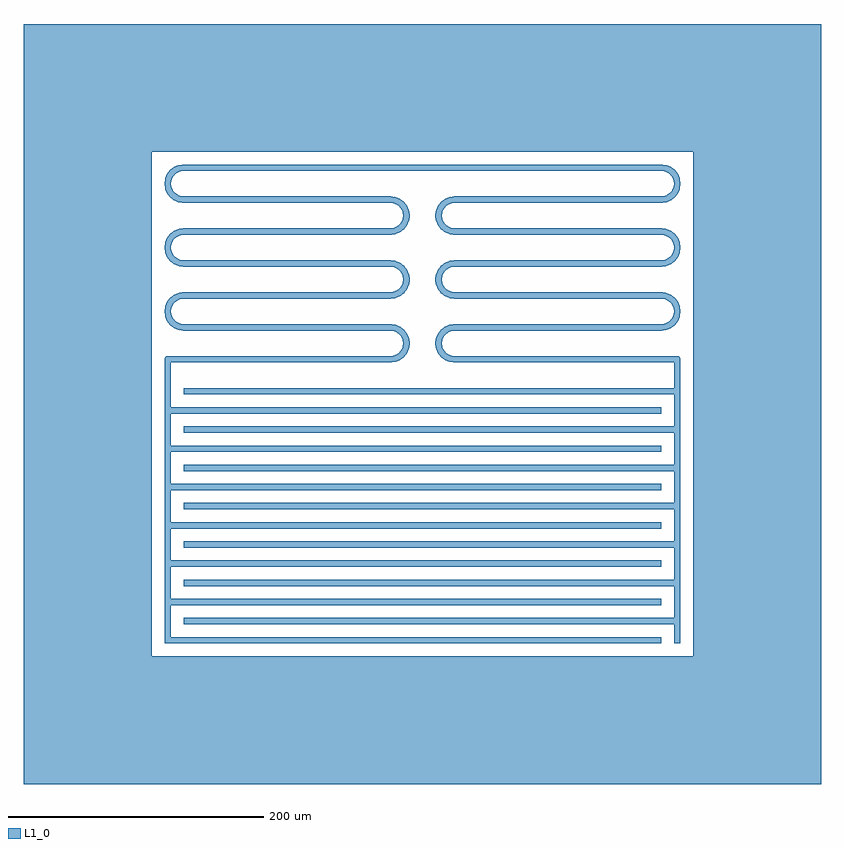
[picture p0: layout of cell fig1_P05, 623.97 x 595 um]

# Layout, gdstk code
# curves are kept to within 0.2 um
import gdstk
lib = gdstk.Library(unit=1e-6, precision=1e-09)
def R(c, l, rs):  # rectangles x0, y0, x1, y1
    for r in rs: c.add(gdstk.rectangle(r[:2], r[2:], *l))
def A(c, l, x, y, w, h, nx, ny, dx, dy):  # array of equal rectangles
    R(c, l, [(x+i*dx, y+j*dy, x+i*dx+w, y+j*dy+h) for i in range(nx) for j in range(ny)])
def P(c, l, *ps):  # polygons
    for p in ps: c.add(gdstk.Polygon(p, *l))
L1_0 = (1, 0)

fig1_p05 = lib.new_cell('fig1_P05')
A(fig1_p05, L1_0, -201.986, 0, 388.972, 5, 1, 7, 0, 30)
A(fig1_p05, L1_0, -186.986, 15, 388.972, 5, 1, 7, 0, 30)
A(fig1_p05, L1_0, -186.986, 245, 161.986, 5, 1, 5, 0, 25)
A(fig1_p05, L1_0, 25, 245, 161.986, 5, 1, 5, 0, 25)
R(fig1_p05, L1_0, [(-311.986,-110,311.986,-10), (-311.986,-10,-211.986,385), (211.986,-10,311.986,385), (-201.986,0,-196.986,200), (196.986,0,201.986,200), (-201.986,197.5,-196.986,222.5), (196.986,197.5,201.986,222.5), (-199.486,220,-25,225), (25,220,199.486,225), (-186.986,370,186.986,375), (-311.986,385,311.986,485)])
P(fig1_p05, L1_0, [(14.979,334.674),(10.021,335.326),(10.447,338.562),(15.405,337.909)],
  [(12.926,335.735),(11.158,336.467),(10.426,338.235),(11.158,340.003),(12.926,340.735),(14.694,340.003),(15.426,338.235),(14.694,336.467)],
  [(12.5,332.5),(10.732,333.232),(10,335),(10.732,336.768),(12.5,337.5),(14.268,336.768),(15,335),(14.268,333.232)],
  [(194.758,347.191),(191.714,351.158),(194.303,353.145),(197.347,349.178)],
  [(191.178,345.616),(189.265,350.236),(192.279,351.484),(194.193,346.865)],
  [(187.312,345.021),(186.66,349.979),(189.895,350.405),(190.548,345.447)],
  [(189.895,369.595),(186.66,370.021),(187.312,374.979),(190.548,374.553)],
  [(192.279,368.516),(189.265,369.764),(191.178,374.384),(194.193,373.135)],
  [(194.303,366.855),(191.714,368.842),(194.758,372.809),(197.347,370.822)],
  [(195.828,364.728),(193.841,367.317),(197.808,370.361),(199.795,367.772)],
  [(196.75,362.279),(195.502,365.293),(200.121,367.207),(201.37,364.192)],
  [(197.007,359.674),(196.581,362.909),(201.539,363.562),(201.965,360.326)],
  [(201.539,356.438),(196.581,357.091),(197.007,360.326),(201.965,359.674)],
  [(186.986,370),(185.218,370.732),(184.486,372.5),(185.218,374.268),(186.986,375),(188.754,374.268),(189.486,372.5),(188.754,370.732)],
  [(190.221,369.574),(188.453,370.306),(187.721,372.074),(188.453,373.842),(190.221,374.574),(191.989,373.842),(192.721,372.074),(191.989,370.306)],
  [(193.236,368.325),(191.468,369.058),(190.736,370.825),(191.468,372.593),(193.236,373.325),(195.004,372.593),(195.736,370.825),(195.004,369.058)],
  [(195.825,366.339),(194.057,367.071),(193.325,368.839),(194.057,370.607),(195.825,371.339),(197.593,370.607),(198.325,368.839),(197.593,367.071)],
  [(197.811,363.75),(196.044,364.482),(195.311,366.25),(196.044,368.018),(197.811,368.75),(199.579,368.018),(200.311,366.25),(199.579,364.482)],
  [(199.06,360.735),(197.292,361.467),(196.56,363.235),(197.292,365.003),(199.06,365.735),(200.828,365.003),(201.56,363.235),(200.828,361.467)],
  [(199.486,357.5),(197.718,358.232),(196.986,360),(197.718,361.768),(199.486,362.5),(201.254,361.768),(201.986,360),(201.254,358.232)],
  [(199.06,354.265),(197.292,354.997),(196.56,356.765),(197.292,358.533),(199.06,359.265),(200.828,358.533),(201.56,356.765),(200.828,354.997)],
  [(197.811,351.25),(196.044,351.982),(195.311,353.75),(196.044,355.518),(197.811,356.25),(199.579,355.518),(200.311,353.75),(199.579,351.982)],
  [(195.825,348.661),(194.057,349.393),(193.325,351.161),(194.057,352.929),(195.825,353.661),(197.593,352.929),(198.325,351.161),(197.593,349.393)],
  [(193.236,346.675),(191.468,347.407),(190.736,349.175),(191.468,350.942),(193.236,351.675),(195.004,350.942),(195.736,349.175),(195.004,347.407)],
  [(190.221,345.426),(188.453,346.158),(187.721,347.926),(188.453,349.694),(190.221,350.426),(191.989,349.694),(192.721,347.926),(191.989,346.158)],
  [(186.986,345),(185.218,345.732),(184.486,347.5),(185.218,349.268),(186.986,350),(188.754,349.268),(189.486,347.5),(188.754,345.732)],
  [(200.121,352.793),(195.502,354.707),(196.75,357.721),(201.37,355.808)],
  [(197.808,349.639),(193.841,352.683),(195.828,355.272),(199.795,352.228)],
  [(19.707,343.516),(17.793,348.135),(20.808,349.384),(22.721,344.764)],
  [(17.683,341.855),(14.639,345.822),(17.228,347.809),(20.272,343.842)],
  [(16.158,339.728),(12.191,342.772),(14.178,345.361),(18.145,342.317)],
  [(25,345),(23.232,345.732),(22.5,347.5),(23.232,349.268),(25,350),(26.768,349.268),(27.5,347.5),(26.768,345.732)],
  [(21.765,344.574),(19.997,345.306),(19.265,347.074),(19.997,348.842),(21.765,349.574),(23.533,348.842),(24.265,347.074),(23.533,345.306)],
  [(18.75,343.325),(16.982,344.058),(16.25,345.825),(16.982,347.593),(18.75,348.325),(20.518,347.593),(21.25,345.825),(20.518,344.058)],
  [(16.161,341.339),(14.393,342.071),(13.661,343.839),(14.393,345.607),(16.161,346.339),(17.929,345.607),(18.661,343.839),(17.929,342.071)],
  [(14.175,338.75),(12.407,339.482),(11.675,341.25),(12.407,343.018),(14.175,343.75),(15.942,343.018),(16.675,341.25),(15.942,339.482)],
  [(15.236,337.279),(10.616,339.192),(11.865,342.207),(16.484,340.293)],
  [(22.091,344.595),(21.438,349.553),(24.674,349.979),(25.326,345.021)],
  [(16.158,239.728),(12.191,242.772),(14.178,245.361),(18.145,242.317)],
  [(15.236,237.279),(10.616,239.192),(11.865,242.207),(16.484,240.293)],
  [(14.979,234.674),(10.021,235.326),(10.447,238.562),(15.405,237.909)],
  [(10.447,231.438),(10.021,234.674),(14.979,235.326),(15.405,232.091)],
  [(11.865,227.793),(10.616,230.808),(15.236,232.721),(16.484,229.707)],
  [(14.178,224.639),(12.191,227.228),(16.158,230.272),(18.145,227.683)],
  [(17.228,222.191),(14.639,224.178),(17.683,228.145),(20.272,226.158)],
  [(20.808,220.616),(17.793,221.865),(19.707,226.484),(22.721,225.236)],
  [(24.674,220.021),(21.438,220.447),(22.091,225.405),(25.326,224.979)],
  [(20.808,320.616),(17.793,321.865),(19.707,326.484),(22.721,325.236)],
  [(24.674,320.021),(21.438,320.447),(22.091,325.405),(25.326,324.979)],
  [(10.447,331.438),(10.021,334.674),(14.979,335.326),(15.405,332.091)],
  [(11.865,327.793),(10.616,330.808),(15.236,332.721),(16.484,329.707)],
  [(22.091,294.595),(21.438,299.553),(24.674,299.979),(25.326,295.021)],
  [(19.707,293.516),(17.793,298.135),(20.808,299.384),(22.721,294.764)],
  [(17.683,291.855),(14.639,295.822),(17.228,297.809),(20.272,293.842)],
  [(16.158,289.728),(12.191,292.772),(14.178,295.361),(18.145,292.317)],
  [(15.236,287.279),(10.616,289.192),(11.865,292.207),(16.484,290.293)],
  [(14.979,284.674),(10.021,285.326),(10.447,288.562),(15.405,287.909)],
  [(10.447,281.438),(10.021,284.674),(14.979,285.326),(15.405,282.091)],
  [(11.865,277.793),(10.616,280.808),(15.236,282.721),(16.484,279.707)],
  [(14.178,274.639),(12.191,277.228),(16.158,280.272),(18.145,277.683)],
  [(17.228,272.191),(14.639,274.178),(17.683,278.145),(20.272,276.158)],
  [(20.808,270.616),(17.793,271.865),(19.707,276.484),(22.721,275.236)],
  [(24.674,270.021),(21.438,270.447),(22.091,275.405),(25.326,274.979)],
  [(14.178,324.639),(12.191,327.228),(16.158,330.272),(18.145,327.683)],
  [(17.228,322.191),(14.639,324.178),(17.683,328.145),(20.272,326.158)],
  [(22.091,244.595),(21.438,249.553),(24.674,249.979),(25.326,245.021)],
  [(19.707,243.516),(17.793,248.135),(20.808,249.384),(22.721,244.764)],
  [(17.683,241.855),(14.639,245.822),(17.228,247.809),(20.272,243.842)],
  [(12.926,329.265),(11.158,329.997),(10.426,331.765),(11.158,333.533),(12.926,334.265),(14.694,333.533),(15.426,331.765),(14.694,329.997)],
  [(14.175,326.25),(12.407,326.982),(11.675,328.75),(12.407,330.518),(14.175,331.25),(15.942,330.518),(16.675,328.75),(15.942,326.982)],
  [(16.161,323.661),(14.393,324.393),(13.661,326.161),(14.393,327.929),(16.161,328.661),(17.929,327.929),(18.661,326.161),(17.929,324.393)],
  [(18.75,321.675),(16.982,322.407),(16.25,324.175),(16.982,325.942),(18.75,326.675),(20.518,325.942),(21.25,324.175),(20.518,322.407)],
  [(21.765,320.426),(19.997,321.158),(19.265,322.926),(19.997,324.694),(21.765,325.426),(23.533,324.694),(24.265,322.926),(23.533,321.158)],
  [(25,320),(23.232,320.732),(22.5,322.5),(23.232,324.268),(25,325),(26.768,324.268),(27.5,322.5),(26.768,320.732)],
  [(25,295),(23.232,295.732),(22.5,297.5),(23.232,299.268),(25,300),(26.768,299.268),(27.5,297.5),(26.768,295.732)],
  [(21.765,294.574),(19.997,295.306),(19.265,297.074),(19.997,298.842),(21.765,299.574),(23.533,298.842),(24.265,297.074),(23.533,295.306)],
  [(18.75,293.325),(16.982,294.058),(16.25,295.825),(16.982,297.593),(18.75,298.325),(20.518,297.593),(21.25,295.825),(20.518,294.058)],
  [(16.161,291.339),(14.393,292.071),(13.661,293.839),(14.393,295.607),(16.161,296.339),(17.929,295.607),(18.661,293.839),(17.929,292.071)],
  [(14.175,288.75),(12.407,289.482),(11.675,291.25),(12.407,293.018),(14.175,293.75),(15.942,293.018),(16.675,291.25),(15.942,289.482)],
  [(12.926,285.735),(11.158,286.467),(10.426,288.235),(11.158,290.003),(12.926,290.735),(14.694,290.003),(15.426,288.235),(14.694,286.467)],
  [(12.5,282.5),(10.732,283.232),(10,285),(10.732,286.768),(12.5,287.5),(14.268,286.768),(15,285),(14.268,283.232)],
  [(12.926,279.265),(11.158,279.997),(10.426,281.765),(11.158,283.533),(12.926,284.265),(14.694,283.533),(15.426,281.765),(14.694,279.997)],
  [(14.175,276.25),(12.407,276.982),(11.675,278.75),(12.407,280.518),(14.175,281.25),(15.942,280.518),(16.675,278.75),(15.942,276.982)],
  [(16.161,273.661),(14.393,274.393),(13.661,276.161),(14.393,277.929),(16.161,278.661),(17.929,277.929),(18.661,276.161),(17.929,274.393)],
  [(18.75,271.675),(16.982,272.407),(16.25,274.175),(16.982,275.942),(18.75,276.675),(20.518,275.942),(21.25,274.175),(20.518,272.407)],
  [(21.765,270.426),(19.997,271.158),(19.265,272.926),(19.997,274.694),(21.765,275.426),(23.533,274.694),(24.265,272.926),(23.533,271.158)],
  [(25,270),(23.232,270.732),(22.5,272.5),(23.232,274.268),(25,275),(26.768,274.268),(27.5,272.5),(26.768,270.732)],
  [(25,245),(23.232,245.732),(22.5,247.5),(23.232,249.268),(25,250),(26.768,249.268),(27.5,247.5),(26.768,245.732)],
  [(21.765,244.574),(19.997,245.306),(19.265,247.074),(19.997,248.842),(21.765,249.574),(23.533,248.842),(24.265,247.074),(23.533,245.306)],
  [(18.75,243.325),(16.982,244.058),(16.25,245.825),(16.982,247.593),(18.75,248.325),(20.518,247.593),(21.25,245.825),(20.518,244.058)],
  [(16.161,241.339),(14.393,242.071),(13.661,243.839),(14.393,245.607),(16.161,246.339),(17.929,245.607),(18.661,243.839),(17.929,242.071)],
  [(14.175,238.75),(12.407,239.482),(11.675,241.25),(12.407,243.018),(14.175,243.75),(15.942,243.018),(16.675,241.25),(15.942,239.482)],
  [(12.926,235.735),(11.158,236.467),(10.426,238.235),(11.158,240.003),(12.926,240.735),(14.694,240.003),(15.426,238.235),(14.694,236.467)],
  [(12.5,232.5),(10.732,233.232),(10,235),(10.732,236.768),(12.5,237.5),(14.268,236.768),(15,235),(14.268,233.232)],
  [(12.926,229.265),(11.158,229.997),(10.426,231.765),(11.158,233.533),(12.926,234.265),(14.694,233.533),(15.426,231.765),(14.694,229.997)],
  [(14.175,226.25),(12.407,226.982),(11.675,228.75),(12.407,230.518),(14.175,231.25),(15.942,230.518),(16.675,228.75),(15.942,226.982)],
  [(16.161,223.661),(14.393,224.393),(13.661,226.161),(14.393,227.929),(16.161,228.661),(17.929,227.929),(18.661,226.161),(17.929,224.393)],
  [(18.75,221.675),(16.982,222.407),(16.25,224.175),(16.982,225.942),(18.75,226.675),(20.518,225.942),(21.25,224.175),(20.518,222.407)],
  [(21.765,220.426),(19.997,221.158),(19.265,222.926),(19.997,224.694),(21.765,225.426),(23.533,224.694),(24.265,222.926),(23.533,221.158)],
  [(25,220),(23.232,220.732),(22.5,222.5),(23.232,224.268),(25,225),(26.768,224.268),(27.5,222.5),(26.768,220.732)],
  [(190.221,319.574),(188.453,320.306),(187.721,322.074),(188.453,323.842),(190.221,324.574),(191.989,323.842),(192.721,322.074),(191.989,320.306)],
  [(193.236,318.325),(191.468,319.058),(190.736,320.825),(191.468,322.593),(193.236,323.325),(195.004,322.593),(195.736,320.825),(195.004,319.058)],
  [(195.825,316.339),(194.057,317.071),(193.325,318.839),(194.057,320.607),(195.825,321.339),(197.593,320.607),(198.325,318.839),(197.593,317.071)],
  [(197.811,313.75),(196.044,314.482),(195.311,316.25),(196.044,318.018),(197.811,318.75),(199.579,318.018),(200.311,316.25),(199.579,314.482)],
  [(199.06,310.735),(197.292,311.467),(196.56,313.235),(197.292,315.003),(199.06,315.735),(200.828,315.003),(201.56,313.235),(200.828,311.467)],
  [(199.486,307.5),(197.718,308.232),(196.986,310),(197.718,311.768),(199.486,312.5),(201.254,311.768),(201.986,310),(201.254,308.232)],
  [(199.06,304.265),(197.292,304.997),(196.56,306.765),(197.292,308.533),(199.06,309.265),(200.828,308.533),(201.56,306.765),(200.828,304.997)],
  [(197.811,301.25),(196.044,301.982),(195.311,303.75),(196.044,305.518),(197.811,306.25),(199.579,305.518),(200.311,303.75),(199.579,301.982)],
  [(195.825,298.661),(194.057,299.393),(193.325,301.161),(194.057,302.929),(195.825,303.661),(197.593,302.929),(198.325,301.161),(197.593,299.393)],
  [(193.236,296.675),(191.468,297.407),(190.736,299.175),(191.468,300.942),(193.236,301.675),(195.004,300.942),(195.736,299.175),(195.004,297.407)],
  [(190.221,295.426),(188.453,296.158),(187.721,297.926),(188.453,299.694),(190.221,300.426),(191.989,299.694),(192.721,297.926),(191.989,296.158)],
  [(186.986,295),(185.218,295.732),(184.486,297.5),(185.218,299.268),(186.986,300),(188.754,299.268),(189.486,297.5),(188.754,295.732)],
  [(194.303,266.855),(191.714,268.842),(194.758,272.809),(197.347,270.822)],
  [(195.828,264.728),(193.841,267.317),(197.808,270.361),(199.795,267.772)],
  [(196.75,262.279),(195.502,265.293),(200.121,267.207),(201.37,264.192)],
  [(197.007,259.674),(196.581,262.909),(201.539,263.562),(201.965,260.326)],
  [(201.539,256.438),(196.581,257.091),(197.007,260.326),(201.965,259.674)],
  [(200.121,252.793),(195.502,254.707),(196.75,257.721),(201.37,255.808)],
  [(197.808,249.639),(193.841,252.683),(195.828,255.272),(199.795,252.228)],
  [(194.758,247.191),(191.714,251.158),(194.303,253.145),(197.347,249.178)],
  [(191.178,245.616),(189.265,250.236),(192.279,251.484),(194.193,246.865)],
  [(187.312,245.021),(186.66,249.979),(189.895,250.405),(190.548,245.447)],
  [(189.895,319.595),(186.66,320.021),(187.312,324.979),(190.548,324.553)],
  [(192.279,318.516),(189.265,319.764),(191.178,324.384),(194.193,323.135)],
  [(194.303,316.855),(191.714,318.842),(194.758,322.809),(197.347,320.822)],
  [(186.986,270),(185.218,270.732),(184.486,272.5),(185.218,274.268),(186.986,275),(188.754,274.268),(189.486,272.5),(188.754,270.732)],
  [(190.221,269.574),(188.453,270.306),(187.721,272.074),(188.453,273.842),(190.221,274.574),(191.989,273.842),(192.721,272.074),(191.989,270.306)],
  [(193.236,268.325),(191.468,269.058),(190.736,270.825),(191.468,272.593),(193.236,273.325),(195.004,272.593),(195.736,270.825),(195.004,269.058)],
  [(195.825,266.339),(194.057,267.071),(193.325,268.839),(194.057,270.607),(195.825,271.339),(197.593,270.607),(198.325,268.839),(197.593,267.071)],
  [(197.811,263.75),(196.044,264.482),(195.311,266.25),(196.044,268.018),(197.811,268.75),(199.579,268.018),(200.311,266.25),(199.579,264.482)],
  [(199.06,260.735),(197.292,261.467),(196.56,263.235),(197.292,265.003),(199.06,265.735),(200.828,265.003),(201.56,263.235),(200.828,261.467)],
  [(199.486,257.5),(197.718,258.232),(196.986,260),(197.718,261.768),(199.486,262.5),(201.254,261.768),(201.986,260),(201.254,258.232)],
  [(199.06,254.265),(197.292,254.997),(196.56,256.765),(197.292,258.533),(199.06,259.265),(200.828,258.533),(201.56,256.765),(200.828,254.997)],
  [(197.811,251.25),(196.044,251.982),(195.311,253.75),(196.044,255.518),(197.811,256.25),(199.579,255.518),(200.311,253.75),(199.579,251.982)],
  [(195.825,248.661),(194.057,249.393),(193.325,251.161),(194.057,252.929),(195.825,253.661),(197.593,252.929),(198.325,251.161),(197.593,249.393)],
  [(193.236,246.675),(191.468,247.407),(190.736,249.175),(191.468,250.942),(193.236,251.675),(195.004,250.942),(195.736,249.175),(195.004,247.407)],
  [(190.221,245.426),(188.453,246.158),(187.721,247.926),(188.453,249.694),(190.221,250.426),(191.989,249.694),(192.721,247.926),(191.989,246.158)],
  [(186.986,245),(185.218,245.732),(184.486,247.5),(185.218,249.268),(186.986,250),(188.754,249.268),(189.486,247.5),(188.754,245.732)],
  [(195.828,314.728),(193.841,317.317),(197.808,320.361),(199.795,317.772)],
  [(196.75,312.279),(195.502,315.293),(200.121,317.207),(201.37,314.192)],
  [(197.007,309.674),(196.581,312.909),(201.539,313.562),(201.965,310.326)],
  [(201.539,306.438),(196.581,307.091),(197.007,310.326),(201.965,309.674)],
  [(200.121,302.793),(195.502,304.707),(196.75,307.721),(201.37,305.808)],
  [(197.808,299.639),(193.841,302.683),(195.828,305.272),(199.795,302.228)],
  [(194.758,297.191),(191.714,301.158),(194.303,303.145),(197.347,299.178)],
  [(191.178,295.616),(189.265,300.236),(192.279,301.484),(194.193,296.865)],
  [(187.312,295.021),(186.66,299.979),(189.895,300.405),(190.548,295.447)],
  [(189.895,269.595),(186.66,270.021),(187.312,274.979),(190.548,274.553)],
  [(192.279,268.516),(189.265,269.764),(191.178,274.384),(194.193,273.135)],
  [(186.986,320),(185.218,320.732),(184.486,322.5),(185.218,324.268),(186.986,325),(188.754,324.268),(189.486,322.5),(188.754,320.732)],
  [(199.486,220),(197.718,220.732),(196.986,222.5),(197.718,224.268),(199.486,225),(201.254,224.268),(201.986,222.5),(201.254,220.732)],
  [(-12.5,332.5),(-14.268,333.232),(-15,335),(-14.268,336.768),(-12.5,337.5),(-10.732,336.768),(-10,335),(-10.732,333.232)],
  [(-12.926,335.735),(-14.694,336.467),(-15.426,338.235),(-14.694,340.003),(-12.926,340.735),(-11.158,340.003),(-10.426,338.235),(-11.158,336.467)],
  [(-14.979,334.674),(-15.405,337.909),(-10.447,338.562),(-10.021,335.326)],
  [(-18.75,343.325),(-20.518,344.058),(-21.25,345.825),(-20.518,347.593),(-18.75,348.325),(-16.982,347.593),(-16.25,345.825),(-16.982,344.058)],
  [(-21.765,344.574),(-23.533,345.306),(-24.265,347.074),(-23.533,348.842),(-21.765,349.574),(-19.997,348.842),(-19.265,347.074),(-19.997,345.306)],
  [(-25,345),(-26.768,345.732),(-27.5,347.5),(-26.768,349.268),(-25,350),(-23.232,349.268),(-22.5,347.5),(-23.232,345.732)],
  [(-14.175,338.75),(-15.942,339.482),(-16.675,341.25),(-15.942,343.018),(-14.175,343.75),(-12.407,343.018),(-11.675,341.25),(-12.407,339.482)],
  [(-15.236,337.279),(-16.484,340.293),(-11.865,342.207),(-10.616,339.192)],
  [(-16.158,339.728),(-18.145,342.317),(-14.178,345.361),(-12.191,342.772)],
  [(-17.683,341.855),(-20.272,343.842),(-17.228,347.809),(-14.639,345.822)],
  [(-19.707,343.516),(-22.721,344.764),(-20.808,349.384),(-17.793,348.135)],
  [(-22.091,344.595),(-25.326,345.021),(-24.674,349.979),(-21.438,349.553)],
  [(-16.161,341.339),(-17.929,342.071),(-18.661,343.839),(-17.929,345.607),(-16.161,346.339),(-14.393,345.607),(-13.661,343.839),(-14.393,342.071)],
  [(-186.986,370),(-188.754,370.732),(-189.486,372.5),(-188.754,374.268),(-186.986,375),(-185.218,374.268),(-184.486,372.5),(-185.218,370.732)],
  [(-186.986,345),(-188.754,345.732),(-189.486,347.5),(-188.754,349.268),(-186.986,350),(-185.218,349.268),(-184.486,347.5),(-185.218,345.732)],
  [(-190.221,345.426),(-191.989,346.158),(-192.721,347.926),(-191.989,349.694),(-190.221,350.426),(-188.453,349.694),(-187.721,347.926),(-188.453,346.158)],
  [(-193.236,346.675),(-195.004,347.407),(-195.736,349.175),(-195.004,350.942),(-193.236,351.675),(-191.468,350.942),(-190.736,349.175),(-191.468,347.407)],
  [(-195.825,348.661),(-197.593,349.393),(-198.325,351.161),(-197.593,352.929),(-195.825,353.661),(-194.057,352.929),(-193.325,351.161),(-194.057,349.393)],
  [(-197.811,351.25),(-199.579,351.982),(-200.311,353.75),(-199.579,355.518),(-197.811,356.25),(-196.044,355.518),(-195.311,353.75),(-196.044,351.982)],
  [(-199.06,354.265),(-200.828,354.997),(-201.56,356.765),(-200.828,358.533),(-199.06,359.265),(-197.292,358.533),(-196.56,356.765),(-197.292,354.997)],
  [(-199.486,357.5),(-201.254,358.232),(-201.986,360),(-201.254,361.768),(-199.486,362.5),(-197.718,361.768),(-196.986,360),(-197.718,358.232)],
  [(-199.06,360.735),(-200.828,361.467),(-201.56,363.235),(-200.828,365.003),(-199.06,365.735),(-197.292,365.003),(-196.56,363.235),(-197.292,361.467)],
  [(-197.811,363.75),(-199.579,364.482),(-200.311,366.25),(-199.579,368.018),(-197.811,368.75),(-196.044,368.018),(-195.311,366.25),(-196.044,364.482)],
  [(-195.825,366.339),(-197.593,367.071),(-198.325,368.839),(-197.593,370.607),(-195.825,371.339),(-194.057,370.607),(-193.325,368.839),(-194.057,367.071)],
  [(-193.236,368.325),(-195.004,369.058),(-195.736,370.825),(-195.004,372.593),(-193.236,373.325),(-191.468,372.593),(-190.736,370.825),(-191.468,369.058)],
  [(-190.221,369.574),(-191.989,370.306),(-192.721,372.074),(-191.989,373.842),(-190.221,374.574),(-188.453,373.842),(-187.721,372.074),(-188.453,370.306)],
  [(-187.312,345.021),(-190.548,345.447),(-189.895,350.405),(-186.66,349.979)],
  [(-191.178,345.616),(-194.193,346.865),(-192.279,351.484),(-189.265,350.236)],
  [(-194.758,347.191),(-197.347,349.178),(-194.303,353.145),(-191.714,351.158)],
  [(-197.808,349.639),(-199.795,352.228),(-195.828,355.272),(-193.841,352.683)],
  [(-200.121,352.793),(-201.37,355.808),(-196.75,357.721),(-195.502,354.707)],
  [(-201.539,356.438),(-201.965,359.674),(-197.007,360.326),(-196.581,357.091)],
  [(-197.007,359.674),(-201.965,360.326),(-201.539,363.562),(-196.581,362.909)],
  [(-196.75,362.279),(-201.37,364.192),(-200.121,367.207),(-195.502,365.293)],
  [(-195.828,364.728),(-199.795,367.772),(-197.808,370.361),(-193.841,367.317)],
  [(-194.303,366.855),(-197.347,370.822),(-194.758,372.809),(-191.714,368.842)],
  [(-192.279,368.516),(-194.193,373.135),(-191.178,374.384),(-189.265,369.764)],
  [(-189.895,369.595),(-190.548,374.553),(-187.312,374.979),(-186.66,370.021)],
  [(-195.825,298.661),(-197.593,299.393),(-198.325,301.161),(-197.593,302.929),(-195.825,303.661),(-194.057,302.929),(-193.325,301.161),(-194.057,299.393)],
  [(-197.811,301.25),(-199.579,301.982),(-200.311,303.75),(-199.579,305.518),(-197.811,306.25),(-196.044,305.518),(-195.311,303.75),(-196.044,301.982)],
  [(-199.06,304.265),(-200.828,304.997),(-201.56,306.765),(-200.828,308.533),(-199.06,309.265),(-197.292,308.533),(-196.56,306.765),(-197.292,304.997)],
  [(-199.486,307.5),(-201.254,308.232),(-201.986,310),(-201.254,311.768),(-199.486,312.5),(-197.718,311.768),(-196.986,310),(-197.718,308.232)],
  [(-199.06,310.735),(-200.828,311.467),(-201.56,313.235),(-200.828,315.003),(-199.06,315.735),(-197.292,315.003),(-196.56,313.235),(-197.292,311.467)],
  [(-187.312,245.021),(-190.548,245.447),(-189.895,250.405),(-186.66,249.979)],
  [(-191.178,245.616),(-194.193,246.865),(-192.279,251.484),(-189.265,250.236)],
  [(-194.758,247.191),(-197.347,249.178),(-194.303,253.145),(-191.714,251.158)],
  [(-197.808,249.639),(-199.795,252.228),(-195.828,255.272),(-193.841,252.683)],
  [(-200.121,252.793),(-201.37,255.808),(-196.75,257.721),(-195.502,254.707)],
  [(-201.539,256.438),(-201.965,259.674),(-197.007,260.326),(-196.581,257.091)],
  [(-197.007,259.674),(-201.965,260.326),(-201.539,263.562),(-196.581,262.909)],
  [(-196.75,262.279),(-201.37,264.192),(-200.121,267.207),(-195.502,265.293)],
  [(-195.828,264.728),(-199.795,267.772),(-197.808,270.361),(-193.841,267.317)],
  [(-194.303,266.855),(-197.347,270.822),(-194.758,272.809),(-191.714,268.842)],
  [(-192.279,268.516),(-194.193,273.135),(-191.178,274.384),(-189.265,269.764)],
  [(-189.895,269.595),(-190.548,274.553),(-187.312,274.979),(-186.66,270.021)],
  [(-197.811,313.75),(-199.579,314.482),(-200.311,316.25),(-199.579,318.018),(-197.811,318.75),(-196.044,318.018),(-195.311,316.25),(-196.044,314.482)],
  [(-195.825,316.339),(-197.593,317.071),(-198.325,318.839),(-197.593,320.607),(-195.825,321.339),(-194.057,320.607),(-193.325,318.839),(-194.057,317.071)],
  [(-187.312,295.021),(-190.548,295.447),(-189.895,300.405),(-186.66,299.979)],
  [(-191.178,295.616),(-194.193,296.865),(-192.279,301.484),(-189.265,300.236)],
  [(-194.758,297.191),(-197.347,299.178),(-194.303,303.145),(-191.714,301.158)],
  [(-197.808,299.639),(-199.795,302.228),(-195.828,305.272),(-193.841,302.683)],
  [(-200.121,302.793),(-201.37,305.808),(-196.75,307.721),(-195.502,304.707)],
  [(-201.539,306.438),(-201.965,309.674),(-197.007,310.326),(-196.581,307.091)],
  [(-197.007,309.674),(-201.965,310.326),(-201.539,313.562),(-196.581,312.909)],
  [(-196.75,312.279),(-201.37,314.192),(-200.121,317.207),(-195.502,315.293)],
  [(-195.828,314.728),(-199.795,317.772),(-197.808,320.361),(-193.841,317.317)],
  [(-194.303,316.855),(-197.347,320.822),(-194.758,322.809),(-191.714,318.842)],
  [(-192.279,318.516),(-194.193,323.135),(-191.178,324.384),(-189.265,319.764)],
  [(-189.895,319.595),(-190.548,324.553),(-187.312,324.979),(-186.66,320.021)],
  [(-193.236,318.325),(-195.004,319.058),(-195.736,320.825),(-195.004,322.593),(-193.236,323.325),(-191.468,322.593),(-190.736,320.825),(-191.468,319.058)],
  [(-190.221,319.574),(-191.989,320.306),(-192.721,322.074),(-191.989,323.842),(-190.221,324.574),(-188.453,323.842),(-187.721,322.074),(-188.453,320.306)],
  [(-186.986,320),(-188.754,320.732),(-189.486,322.5),(-188.754,324.268),(-186.986,325),(-185.218,324.268),(-184.486,322.5),(-185.218,320.732)],
  [(-199.486,220),(-201.254,220.732),(-201.986,222.5),(-201.254,224.268),(-199.486,225),(-197.718,224.268),(-196.986,222.5),(-197.718,220.732)],
  [(-186.986,245),(-188.754,245.732),(-189.486,247.5),(-188.754,249.268),(-186.986,250),(-185.218,249.268),(-184.486,247.5),(-185.218,245.732)],
  [(-190.221,245.426),(-191.989,246.158),(-192.721,247.926),(-191.989,249.694),(-190.221,250.426),(-188.453,249.694),(-187.721,247.926),(-188.453,246.158)],
  [(-193.236,246.675),(-195.004,247.407),(-195.736,249.175),(-195.004,250.942),(-193.236,251.675),(-191.468,250.942),(-190.736,249.175),(-191.468,247.407)],
  [(-195.825,248.661),(-197.593,249.393),(-198.325,251.161),(-197.593,252.929),(-195.825,253.661),(-194.057,252.929),(-193.325,251.161),(-194.057,249.393)],
  [(-197.811,251.25),(-199.579,251.982),(-200.311,253.75),(-199.579,255.518),(-197.811,256.25),(-196.044,255.518),(-195.311,253.75),(-196.044,251.982)],
  [(-199.06,254.265),(-200.828,254.997),(-201.56,256.765),(-200.828,258.533),(-199.06,259.265),(-197.292,258.533),(-196.56,256.765),(-197.292,254.997)],
  [(-199.486,257.5),(-201.254,258.232),(-201.986,260),(-201.254,261.768),(-199.486,262.5),(-197.718,261.768),(-196.986,260),(-197.718,258.232)],
  [(-199.06,260.735),(-200.828,261.467),(-201.56,263.235),(-200.828,265.003),(-199.06,265.735),(-197.292,265.003),(-196.56,263.235),(-197.292,261.467)],
  [(-197.811,263.75),(-199.579,264.482),(-200.311,266.25),(-199.579,268.018),(-197.811,268.75),(-196.044,268.018),(-195.311,266.25),(-196.044,264.482)],
  [(-195.825,266.339),(-197.593,267.071),(-198.325,268.839),(-197.593,270.607),(-195.825,271.339),(-194.057,270.607),(-193.325,268.839),(-194.057,267.071)],
  [(-193.236,268.325),(-195.004,269.058),(-195.736,270.825),(-195.004,272.593),(-193.236,273.325),(-191.468,272.593),(-190.736,270.825),(-191.468,269.058)],
  [(-190.221,269.574),(-191.989,270.306),(-192.721,272.074),(-191.989,273.842),(-190.221,274.574),(-188.453,273.842),(-187.721,272.074),(-188.453,270.306)],
  [(-186.986,270),(-188.754,270.732),(-189.486,272.5),(-188.754,274.268),(-186.986,275),(-185.218,274.268),(-184.486,272.5),(-185.218,270.732)],
  [(-186.986,295),(-188.754,295.732),(-189.486,297.5),(-188.754,299.268),(-186.986,300),(-185.218,299.268),(-184.486,297.5),(-185.218,295.732)],
  [(-190.221,295.426),(-191.989,296.158),(-192.721,297.926),(-191.989,299.694),(-190.221,300.426),(-188.453,299.694),(-187.721,297.926),(-188.453,296.158)],
  [(-193.236,296.675),(-195.004,297.407),(-195.736,299.175),(-195.004,300.942),(-193.236,301.675),(-191.468,300.942),(-190.736,299.175),(-191.468,297.407)],
  [(-25,245),(-26.768,245.732),(-27.5,247.5),(-26.768,249.268),(-25,250),(-23.232,249.268),(-22.5,247.5),(-23.232,245.732)],
  [(-25,320),(-26.768,320.732),(-27.5,322.5),(-26.768,324.268),(-25,325),(-23.232,324.268),(-22.5,322.5),(-23.232,320.732)],
  [(-21.765,320.426),(-23.533,321.158),(-24.265,322.926),(-23.533,324.694),(-21.765,325.426),(-19.997,324.694),(-19.265,322.926),(-19.997,321.158)],
  [(-18.75,321.675),(-20.518,322.407),(-21.25,324.175),(-20.518,325.942),(-18.75,326.675),(-16.982,325.942),(-16.25,324.175),(-16.982,322.407)],
  [(-16.161,323.661),(-17.929,324.393),(-18.661,326.161),(-17.929,327.929),(-16.161,328.661),(-14.393,327.929),(-13.661,326.161),(-14.393,324.393)],
  [(-14.175,326.25),(-15.942,326.982),(-16.675,328.75),(-15.942,330.518),(-14.175,331.25),(-12.407,330.518),(-11.675,328.75),(-12.407,326.982)],
  [(-12.926,329.265),(-14.694,329.997),(-15.426,331.765),(-14.694,333.533),(-12.926,334.265),(-11.158,333.533),(-10.426,331.765),(-11.158,329.997)],
  [(-25,270),(-26.768,270.732),(-27.5,272.5),(-26.768,274.268),(-25,275),(-23.232,274.268),(-22.5,272.5),(-23.232,270.732)],
  [(-21.765,270.426),(-23.533,271.158),(-24.265,272.926),(-23.533,274.694),(-21.765,275.426),(-19.997,274.694),(-19.265,272.926),(-19.997,271.158)],
  [(-18.75,271.675),(-20.518,272.407),(-21.25,274.175),(-20.518,275.942),(-18.75,276.675),(-16.982,275.942),(-16.25,274.175),(-16.982,272.407)],
  [(-16.161,273.661),(-17.929,274.393),(-18.661,276.161),(-17.929,277.929),(-16.161,278.661),(-14.393,277.929),(-13.661,276.161),(-14.393,274.393)],
  [(-24.674,270.021),(-25.326,274.979),(-22.091,275.405),(-21.438,270.447)],
  [(-20.808,270.616),(-22.721,275.236),(-19.707,276.484),(-17.793,271.865)],
  [(-17.228,272.191),(-20.272,276.158),(-17.683,278.145),(-14.639,274.178)],
  [(-14.178,274.639),(-18.145,277.683),(-16.158,280.272),(-12.191,277.228)],
  [(-11.865,277.793),(-16.484,279.707),(-15.236,282.721),(-10.616,280.808)],
  [(-10.447,281.438),(-15.405,282.091),(-14.979,285.326),(-10.021,284.674)],
  [(-14.979,284.674),(-15.405,287.909),(-10.447,288.562),(-10.021,285.326)],
  [(-15.236,287.279),(-16.484,290.293),(-11.865,292.207),(-10.616,289.192)],
  [(-16.158,289.728),(-18.145,292.317),(-14.178,295.361),(-12.191,292.772)],
  [(-17.683,291.855),(-20.272,293.842),(-17.228,297.809),(-14.639,295.822)],
  [(-19.707,293.516),(-22.721,294.764),(-20.808,299.384),(-17.793,298.135)],
  [(-22.091,294.595),(-25.326,295.021),(-24.674,299.979),(-21.438,299.553)],
  [(-14.175,276.25),(-15.942,276.982),(-16.675,278.75),(-15.942,280.518),(-14.175,281.25),(-12.407,280.518),(-11.675,278.75),(-12.407,276.982)],
  [(-12.926,279.265),(-14.694,279.997),(-15.426,281.765),(-14.694,283.533),(-12.926,284.265),(-11.158,283.533),(-10.426,281.765),(-11.158,279.997)],
  [(-12.5,282.5),(-14.268,283.232),(-15,285),(-14.268,286.768),(-12.5,287.5),(-10.732,286.768),(-10,285),(-10.732,283.232)],
  [(-12.926,285.735),(-14.694,286.467),(-15.426,288.235),(-14.694,290.003),(-12.926,290.735),(-11.158,290.003),(-10.426,288.235),(-11.158,286.467)],
  [(-14.175,288.75),(-15.942,289.482),(-16.675,291.25),(-15.942,293.018),(-14.175,293.75),(-12.407,293.018),(-11.675,291.25),(-12.407,289.482)],
  [(-16.161,291.339),(-17.929,292.071),(-18.661,293.839),(-17.929,295.607),(-16.161,296.339),(-14.393,295.607),(-13.661,293.839),(-14.393,292.071)],
  [(-18.75,293.325),(-20.518,294.058),(-21.25,295.825),(-20.518,297.593),(-18.75,298.325),(-16.982,297.593),(-16.25,295.825),(-16.982,294.058)],
  [(-21.765,294.574),(-23.533,295.306),(-24.265,297.074),(-23.533,298.842),(-21.765,299.574),(-19.997,298.842),(-19.265,297.074),(-19.997,295.306)],
  [(-25,295),(-26.768,295.732),(-27.5,297.5),(-26.768,299.268),(-25,300),(-23.232,299.268),(-22.5,297.5),(-23.232,295.732)],
  [(-25,220),(-26.768,220.732),(-27.5,222.5),(-26.768,224.268),(-25,225),(-23.232,224.268),(-22.5,222.5),(-23.232,220.732)],
  [(-21.765,220.426),(-23.533,221.158),(-24.265,222.926),(-23.533,224.694),(-21.765,225.426),(-19.997,224.694),(-19.265,222.926),(-19.997,221.158)],
  [(-18.75,221.675),(-20.518,222.407),(-21.25,224.175),(-20.518,225.942),(-18.75,226.675),(-16.982,225.942),(-16.25,224.175),(-16.982,222.407)],
  [(-16.161,223.661),(-17.929,224.393),(-18.661,226.161),(-17.929,227.929),(-16.161,228.661),(-14.393,227.929),(-13.661,226.161),(-14.393,224.393)],
  [(-14.175,226.25),(-15.942,226.982),(-16.675,228.75),(-15.942,230.518),(-14.175,231.25),(-12.407,230.518),(-11.675,228.75),(-12.407,226.982)],
  [(-24.674,320.021),(-25.326,324.979),(-22.091,325.405),(-21.438,320.447)],
  [(-20.808,320.616),(-22.721,325.236),(-19.707,326.484),(-17.793,321.865)],
  [(-17.228,322.191),(-20.272,326.158),(-17.683,328.145),(-14.639,324.178)],
  [(-14.178,324.639),(-18.145,327.683),(-16.158,330.272),(-12.191,327.228)],
  [(-11.865,327.793),(-16.484,329.707),(-15.236,332.721),(-10.616,330.808)],
  [(-10.447,331.438),(-15.405,332.091),(-14.979,335.326),(-10.021,334.674)],
  [(-12.926,229.265),(-14.694,229.997),(-15.426,231.765),(-14.694,233.533),(-12.926,234.265),(-11.158,233.533),(-10.426,231.765),(-11.158,229.997)],
  [(-12.5,232.5),(-14.268,233.232),(-15,235),(-14.268,236.768),(-12.5,237.5),(-10.732,236.768),(-10,235),(-10.732,233.232)],
  [(-12.926,235.735),(-14.694,236.467),(-15.426,238.235),(-14.694,240.003),(-12.926,240.735),(-11.158,240.003),(-10.426,238.235),(-11.158,236.467)],
  [(-14.175,238.75),(-15.942,239.482),(-16.675,241.25),(-15.942,243.018),(-14.175,243.75),(-12.407,243.018),(-11.675,241.25),(-12.407,239.482)],
  [(-24.674,220.021),(-25.326,224.979),(-22.091,225.405),(-21.438,220.447)],
  [(-20.808,220.616),(-22.721,225.236),(-19.707,226.484),(-17.793,221.865)],
  [(-17.228,222.191),(-20.272,226.158),(-17.683,228.145),(-14.639,224.178)],
  [(-14.178,224.639),(-18.145,227.683),(-16.158,230.272),(-12.191,227.228)],
  [(-11.865,227.793),(-16.484,229.707),(-15.236,232.721),(-10.616,230.808)],
  [(-10.447,231.438),(-15.405,232.091),(-14.979,235.326),(-10.021,234.674)],
  [(-14.979,234.674),(-15.405,237.909),(-10.447,238.562),(-10.021,235.326)],
  [(-15.236,237.279),(-16.484,240.293),(-11.865,242.207),(-10.616,239.192)],
  [(-16.158,239.728),(-18.145,242.317),(-14.178,245.361),(-12.191,242.772)],
  [(-17.683,241.855),(-20.272,243.842),(-17.228,247.809),(-14.639,245.822)],
  [(-19.707,243.516),(-22.721,244.764),(-20.808,249.384),(-17.793,248.135)],
  [(-22.091,244.595),(-25.326,245.021),(-24.674,249.979),(-21.438,249.553)],
  [(-16.161,241.339),(-17.929,242.071),(-18.661,243.839),(-17.929,245.607),(-16.161,246.339),(-14.393,245.607),(-13.661,243.839),(-14.393,242.071)],
  [(-18.75,243.325),(-20.518,244.058),(-21.25,245.825),(-20.518,247.593),(-18.75,248.325),(-16.982,247.593),(-16.25,245.825),(-16.982,244.058)],
  [(-21.765,244.574),(-23.533,245.306),(-24.265,247.074),(-23.533,248.842),(-21.765,249.574),(-19.997,248.842),(-19.265,247.074),(-19.997,245.306)])

lib.write_gds('fig1_P05.gds')
